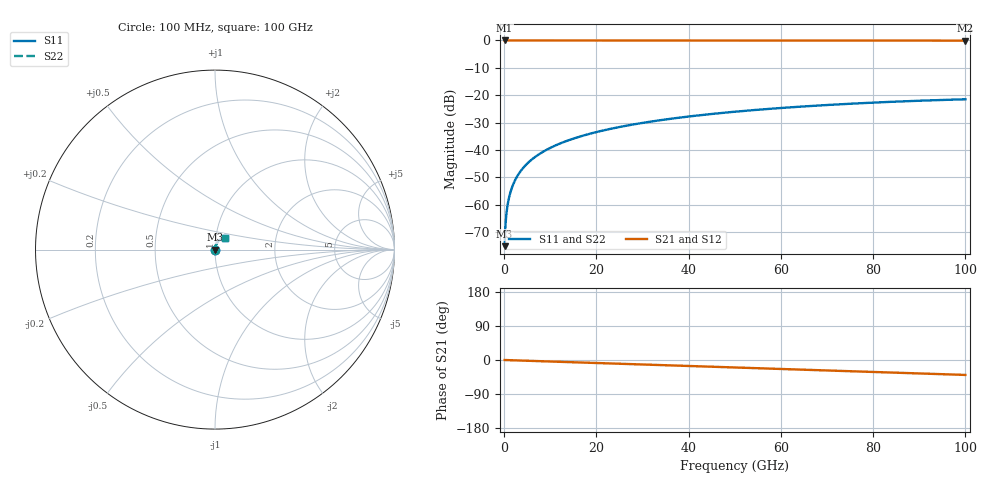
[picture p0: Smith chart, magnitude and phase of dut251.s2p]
! Touchstone file exported from HFSS 2026.1.0
!  File:  C:/ffzhzh/LocalFiles/Ansys_Project_Files/temp_train_TSV_251_1783508330_55944.aedt
!  Generated:  07:00:01 PM Jul  8, 2026
!  Design:  TSV
!  Project:  temp_train_TSV_251_1783508330_55944
! Variables:
!  h_bsmrdl = 2um
!  h_ox = 20um
!  h_rdl = 5um
!  h_sub = 74.74um
!  h_tmrdl = 5um
!  h_tsv = 74.74um
!  h_via = 3um
!  l_bsmrdl = 300um
!  l_sub = 422.62um
!  l_tmrdl = 200um
!  m_sub = 200um
!  pitch = 53.89um
!  r_tsv = 11.31um
!  s_tmrdl = 10um
!  w_bsmrdl = 18um
!  w_sub = 500um
!  w_tmrdl = 12um
!  x_tsv_center1 = 206um
!  x_tsv_center2 = 524um
!  x_tsv_center3 = 736um
!  x_tsv_center4 = 1054um
!  x_tsv_center5 = 1266um
!  x_tsv_center6 = 1584um
# GHz S MA R 50.000000
! Terminal data exported
! Port[1] = TSV1_1_T1
! Port[2] = TSV1_1_T2
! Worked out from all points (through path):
!   1000 points, 100 MHz to 100 GHz, reference 50 ohm
!   highest |S21| = 0.00 dB at 100 MHz (marker M1); lowest = -0.1 dB at 100 GHz (marker M2)
!   group delay of S21, straight-line fit = 1.09 ps
!   lowest |S11| = -75.1 dB at 100 MHz (marker M3), VSWR 1.00, Z = 50 + j0.0144 ohm
!   |S11| at or under -10 dB: start of sweep to end of sweep
!   |S22| runs from -75.1 to -21.5 dB; largest |S21 - S12| = 1.9e-15
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0.1  0.000175 55.6  0.9999 -0.0  0.9999 -0.0  0.000175 55.6
! Gamma 0 0 0 0
! Port Impedance 50 0 50 0
0.3  0.0004399 73.0  0.9999 -0.1  0.9999 -0.1  0.0004399 73.0
0.7  0.0009342 77.3  0.9998 -0.3  0.9998 -0.3  0.0009342 77.3
0.8  0.00105 77.8  0.9998 -0.3  0.9998 -0.3  0.00105 77.8
1  0.001279 78.6  0.9998 -0.4  0.9998 -0.4  0.001279 78.6
1.3  0.001616 79.7  0.9997 -0.5  0.9997 -0.5  0.001616 79.7
1.8  0.002174 80.8  0.9997 -0.7  0.9997 -0.7  0.002174 80.8
2.3  0.002727 81.4  0.9996 -0.9  0.9996 -0.9  0.002727 81.4
3  0.003492 81.9  0.9996 -1.2  0.9996 -1.2  0.003492 81.9
3.8  0.004357 82.3  0.9995 -1.5  0.9995 -1.5  0.004357 82.3
4.8  0.005427 82.5  0.9995 -1.9  0.9995 -1.9  0.005427 82.5
6  0.006704 82.6  0.9994 -2.4  0.9994 -2.4  0.006704 82.6
8.8  0.009659 82.3  0.9992 -3.5  0.9992 -3.5  0.009659 82.3
12.4  0.01342 81.4  0.999 -4.9  0.999 -4.9  0.01342 81.4
16.8  0.01795 80.1  0.9988 -6.6  0.9988 -6.6  0.01795 80.1
24.2  0.02546 77.8  0.9985 -9.6  0.9985 -9.6  0.02546 77.7
33.4  0.03453 74.5  0.998 -13.2  0.998 -13.2  0.03453 74.5
41.2  0.04194 71.7  0.9975 -16.2  0.9975 -16.2  0.04194 71.6
50.1  0.05001 68.3  0.997 -19.7  0.997 -19.7  0.05001 68.3
66.7  0.06374 62.1  0.9959 -26.3  0.9959 -26.3  0.06374 62.0
83.4  0.07541 55.7  0.9948 -32.9  0.9948 -32.9  0.07541 55.6
100  0.08429 49.3  0.9938 -39.4  0.9938 -39.4  0.08429 49.2
